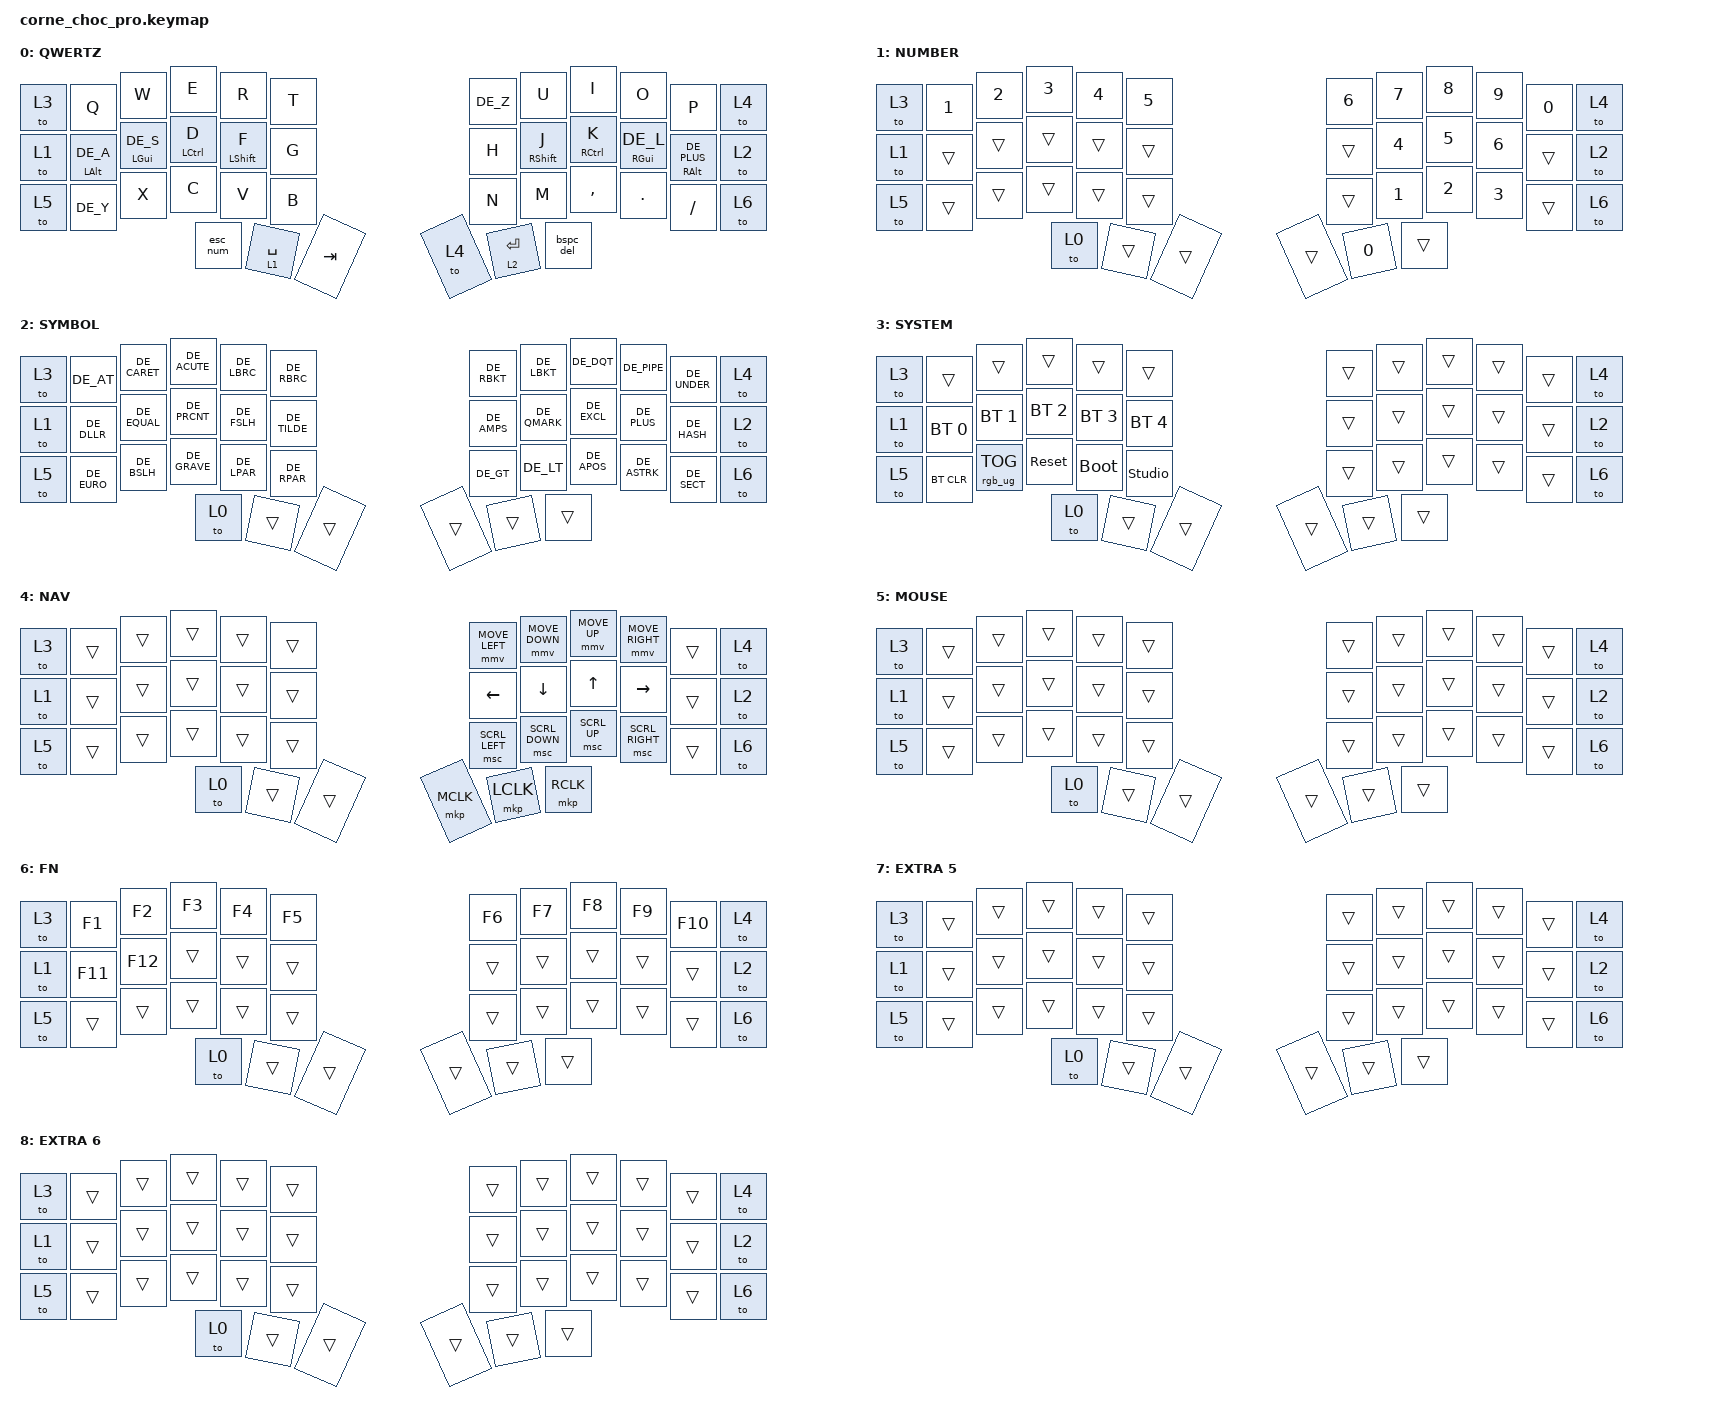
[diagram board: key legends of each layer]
/*
 * Copyright (c) 2020 The ZMK Contributors
 *
 * SPDX-License-Identifier: MIT
 */

#include <behaviors.dtsi>
#include <dt-bindings/zmk/keys.h>
#include <dt-bindings/zmk/bt.h>
#include <dt-bindings/zmk/rgb.h>
#include <dt-bindings/zmk/pointing.h>
#include <dt-bindings/zmk/modifiers.h>
#ifndef KEYMAP_DRAWER
#include "keys_de.h"
#endif

/ {
    chosen {
        zmk,physical-layout = &default_layout;
    };
};
/ {
    combos {
      compatible = "zmk,combos";
    // umlaute: vokal + gespiegelte trigger-taste der gegenhand (Y <-> -).
    // cross-hand, damit schnelles tippen kein combo per rollover ausloest.
    // layers = <0>, weil 25 und 34 auf den anderen layern andere zeichen tragen.
    combo_ae {
      timeout-ms = <50>;
      layers = <0>;
      key-positions = <13 34>;   // A + -
      bindings = <&kp DE_A_UMLAUT>;
    };
    combo_sz {
      timeout-ms = <50>;
      layers = <0>;
      key-positions = <14 34>;   // S + -
      bindings = <&kp DE_SZ>;
    };
    combo_oe {
      timeout-ms = <50>;
      layers = <0>;
      key-positions = <9 25>;    // O + Y
      bindings = <&kp DE_O_UMLAUT>;
    };
    combo_ue {
      timeout-ms = <50>;
      layers = <0>;
      key-positions = <7 25>;    // U + Y
      bindings = <&kp DE_U_UMLAUT>;
    };
  };
    };

/ {
  behaviors {
    hml: homerow_mods_left {
        compatible = "zmk,behavior-hold-tap";
        #binding-cells = <2>;
        tapping-term-ms = <200>;
        quick-tap-ms = <150>;
        require-prior-idle-ms = <175>;
        flavor = "balanced";
        bindings = <&kp>, <&kp>;
        hold-trigger-key-positions = <6 7 8 9 10 11 18 19 20 21 22 23 30 31 32 33 34 35 39 40 41>;
        hold-trigger-on-release;
    };
    hmr: homerow_mods_right {
        compatible = "zmk,behavior-hold-tap";
        #binding-cells = <2>;
        tapping-term-ms = <200>;
        quick-tap-ms = <150>;
        require-prior-idle-ms = <175>;
        flavor = "balanced";
        bindings = <&kp>, <&kp>;
        hold-trigger-key-positions = <0 1 2 3 4 5 12 13 14 15 16 17 24 25 26 27 28 29 36 37 38>;
        hold-trigger-on-release;
    };
    /* tap oder hold auf 41 = BSPC (hold repeatet), shift + 41 = DEL.
       das shift wird dabei nicht mitgesendet. */
    bspc_del: bspc_del {
        compatible = "zmk,behavior-mod-morph";
        #binding-cells = <0>;
        bindings = <&kp BSPC>, <&kp DEL>;
        mods = <(MOD_LSFT|MOD_RSFT)>;
    };
  };
};
/ {
  /* erlaubt es mit esc immer zurueck zu default layer */
  esc_num: esc_num {
  compatible = "zmk,behavior-macro";
    #binding-cells = <0>;
    bindings = <&kp ESC>, <&to 0>;
};
};
/ {
    keymap {
        compatible = "zmk,keymap";
  //  0  1  2  3  4  5  |  6  7  8  9 10 11
  // 12 13 14 15 16 17  | 18 19 20 21 22 23
  // 24 25 26 27 28 29  | 30 31 32 33 34 35
  //          36 37 38  | 39 40 41
        default_layer {
            display-name = "QWERTZ";
            // |  L01 |  Q  |  W  |  E  |  R  |  T  |          |  Z  |  U  |  I  |  O  |  P  |  L02  |
            // |      |  A  |  S  |  D  |  F  |  G  |          |  H  |  J  |  K  |  L  |  +  |       |
            // |      |  Y  |  X  |  C  |  V  |  B  |          |  N  |  M  |  ,  |  .  |  -  |       |
            //                    | ESC | SPC | TAB |          | NAV | RET | DEL |
            bindings = <
                &to 3  &kp Q          &kp W          &kp E        &kp R        &kp T   &kp DE_Z &kp U        &kp I        &kp O          &kp P             &to 4
                &to 1  &hml LALT DE_A &hml LGUI DE_S &hml LCTRL D &hml LSHFT F &kp G   &kp H    &hmr RSHFT J &hmr RCTRL K &hmr RGUI DE_L &hmr RALT DE_PLUS &to 2
                &to 5  &kp DE_Y       &kp X          &kp C        &kp V        &kp B   &kp N    &kp M        &kp COMMA    &kp DOT        &kp FSLH          &to 6
                                                     &esc_num     &lt 1 SPACE  &kp TAB &to 4    &lt 2 RET    &bspc_del
            >;
        };

        lower_layer {
      /* layer 1 */
            display-name = "NUMBER";
            // |      |  1  |  2  |  3  |  4  |  5  |          |  6  |  7  |  8  |  9  |  0  |      |
            // |      |     |     |     |     |     |          |     |  4  |  5  |  6  |     |      |
            // |      |     |     |     |     |     |          |     |  1  |  2  |  3  |     |      | 
            //                    |     |     |     |          |     |  0  |     |
            bindings = <
                &to 3 &kp N1 &kp N2 &kp N3 &kp N4 &kp N5   &kp N6 &kp N7 &kp N8 &kp N9 &kp N0 &to 4
                &to 1 &trans &trans &trans &trans &trans   &trans &kp N4 &kp N5 &kp N6 &trans &to 2
                &to 5 &trans &trans &trans &trans &trans   &trans &kp N1 &kp N2 &kp N3 &trans &to 6
                                    &to 0  &trans &trans   &trans &kp N0 &trans
            >;
        };

        raise_layer {
      /* layer 2 */
            display-name = "SYMBOL";
            // |      |  @  |  ^  |  ´  |  {  |  }  |          |  ]  |  [  |  "  | '|' |  _  |        |
            // |      |  $  |  =  |  %  |  /  |  ~  |          |  &  |  ?  |  !  |  +  |  #  |        |
            // |      |  €  |  \  |  `  |  (  |  )  |          |  >  |  <  |  '  |  *  |  §  |        |
            //                    |     |     |     |          |     |     |     |
            bindings = <
                &to 3 &kp DE_AT   &kp DE_CARET &kp DE_ACUTE &kp DE_LBRC &kp DE_RBRC      &kp DE_RBKT &kp DE_LBKT  &kp DE_DQT  &kp DE_PIPE  &kp DE_UNDER &to 4
                &to 1 &kp DE_DLLR &kp DE_EQUAL &kp DE_PRCNT &kp DE_FSLH &kp DE_TILDE     &kp DE_AMPS &kp DE_QMARK &kp DE_EXCL &kp DE_PLUS  &kp DE_HASH  &to 2
                &to 5 &kp DE_EURO &kp DE_BSLH  &kp DE_GRAVE &kp DE_LPAR &kp DE_RPAR      &kp DE_GT   &kp DE_LT    &kp DE_APOS &kp DE_ASTRK &kp DE_SECT  &to 6
                                               &to 0        &trans      &trans           &trans      &trans       &trans
            >;

            // |      |     |     |     |     |     |          |     |     |     |     |     |      |
            // |      | BT1 | BT2 | BT3 | BT4 | BT5 |          |     |     |     |     |     |      |
            // |      | BTCL| RGB | RST |BOOT |UNLCK|          |     |     |     |     |     |      | 
            //                    |     |     |     |          |     |     |     |
        };

        extra_layer_1 {
      /* layer 3 */
            display-name = "SYSTEM";
            bindings = <
                &to 3 &trans       &trans          &trans       &trans       &trans         &trans &trans &trans &trans &trans &to 4
                &to 1 &bt BT_SEL 0 &bt BT_SEL 1    &bt BT_SEL 2 &bt BT_SEL 3 &bt BT_SEL 4   &trans &trans &trans &trans &trans &to 2
                &to 5 &bt BT_CLR   &rgb_ug RGB_TOG &sys_reset   &bootloader  &studio_unlock &trans &trans &trans &trans &trans &to 6
                                                   &to 0        &trans       &trans         &trans &trans &trans
            >;
        };

        extra_layer_2 {
      /* layer 4 */
            display-name = "NAV";
            bindings = <
                &to 3 &trans &trans &trans &trans &trans  &mmv MOVE_LEFT &mmv MOVE_DOWN &mmv MOVE_UP &mmv MOVE_RIGHT &trans &to 4
                &to 1 &trans &trans &trans &trans &trans  &kp LEFT       &kp DOWN       &kp UP       &kp RIGHT       &trans &to 2
                &to 5 &trans &trans &trans &trans &trans  &msc SCRL_LEFT &msc SCRL_DOWN &msc SCRL_UP &msc SCRL_RIGHT &trans &to 6
                                    &to 0  &trans &trans  &mkp MCLK      &mkp LCLK      &mkp RCLK
            >;
        };

        extra_layer_3 {
      /* layer 5 */
            display-name = "MOUSE";
            bindings = <
                &to 3 &trans &trans &trans &trans &trans  &trans &trans &trans &trans &trans &to 4
                &to 1 &trans &trans &trans &trans &trans  &trans &trans &trans &trans &trans &to 2
                &to 5 &trans &trans &trans &trans &trans  &trans &trans &trans &trans &trans &to 6
                                    &to 0  &trans &trans  &trans &trans &trans
            >;
        };

        extra_layer_4 {
      /* layer 6 */
            display-name = "FN";
            // |      | F1  | F2  | F3  | F4  | F5  |          | F6  | F7  | F8  | F9  | F10 |      |
            // |      | F11 | F12 |     |     |     |          |     |     |     |     |     |      |
            // |      |     |     |     |     |     |          |     |     |     |     |     |      |
            //                    |     |     |     |          |     |     |     |
            bindings = <
                &to 3 &kp F1  &kp F2  &kp F3 &kp F4 &kp F5  &kp F6 &kp F7 &kp F8 &kp F9 &kp F10 &to 4
                &to 1 &kp F11 &kp F12 &trans &trans &trans  &trans &trans &trans &trans &trans  &to 2
                &to 5 &trans  &trans  &trans &trans &trans  &trans &trans &trans &trans &trans  &to 6
                                    &to 0  &trans &trans  &trans &trans &trans
            >;
        };

        extra_layer_5 {
      /* layer 7 */
            display-name = "EXTRA 5";
            bindings = <
                &to 3 &trans &trans &trans &trans &trans  &trans &trans &trans &trans &trans &to 4
                &to 1 &trans &trans &trans &trans &trans  &trans &trans &trans &trans &trans &to 2
                &to 5 &trans &trans &trans &trans &trans  &trans &trans &trans &trans &trans &to 6
                                    &to 0  &trans &trans  &trans &trans &trans
            >;
        };

        extra_layer_6 {
      /* layer 6 */
            display-name = "EXTRA 6";
            bindings = <
                &to 3 &trans &trans &trans &trans &trans  &trans &trans &trans &trans &trans &to 4
                &to 1 &trans &trans &trans &trans &trans  &trans &trans &trans &trans &trans &to 2
                &to 5 &trans &trans &trans &trans &trans  &trans &trans &trans &trans &trans &to 6
                                    &to 0  &trans &trans  &trans &trans &trans
            >;
        };
    };
};
